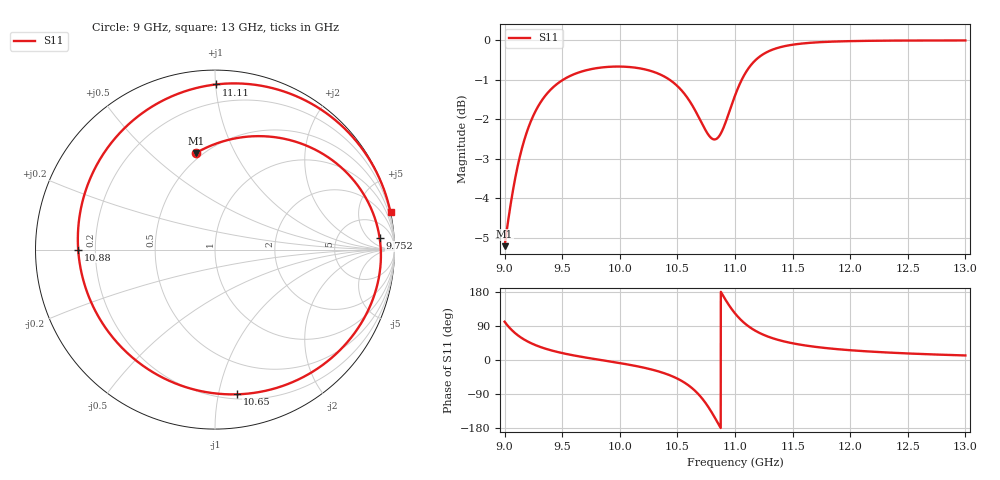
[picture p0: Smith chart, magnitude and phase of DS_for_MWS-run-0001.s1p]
! TOUCHSTONE file generated by CST DESIGN STUDIO
! Date and time: Wed Feb  5 13:47:35 2025
! Project name: C:\Work\MatlabApps\UnitCellOptimizationMatlab\CST\unitcell.cst
! Tree item: Tasks\Sweep1\SPara1\S-Parameters
! Header version: 2024
! Port assignment regex: !\s*Touchstone port\s*([0-9]+)\s*=\s*(CST MWS port|CST DES external port|CST DES block port)\s*(.+)\s* \(\"(.*)\"\)(\s*mode\s*([0-9]+))?.*
! Touchstone port assignment:
! Touchstone port 1 = CST DES external port 1 ("")
# GHz S MA R 50
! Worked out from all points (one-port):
!   4001 points, 9 GHz to 13 GHz, reference 50 ohm
!   lowest |S11| = -5.2 dB at 9 GHz (marker M1), VSWR 3.43, Z = 23.1 + j35.6 ohm
!   |S11| at or under -10 dB: nowhere
!   S11 on the Smith chart (normalised r, x): 9 GHz: 0.46, +0.71; 9.752 GHz: 14, +12; 10.65 GHz: 0.24, -1.14; 10.88 GHz: 0.13, +0.00; 11.11 GHz: 0.08, +1.00; 13 GHz: 0.02, +9.53
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9  0.5489 101.1
9.097  0.675 69.5
9.226  0.7887 44.9
9.348  0.8491 30.5
9.5  0.89 18.3
9.752  0.9195 4.0
10  0.9264 -8.2
10.3  0.9115 -27.0
10.409  0.896 -37.4
10.5  0.8752 -49.2
10.58  0.8485 -63.4
10.653  0.8158 -81.2
10.713  0.7849 -100.9
10.766  0.7605 -122.9
10.827  0.7492 -153.3
10.877  0.7623 180.0
10.932  0.7975 152.0
11  0.8512 123.1
11.053  0.888 105.4
11.114  0.9203 89.6
11.194  0.9485 74.3
11.28  0.9667 62.5
11.38  0.9791 52.6
11.5  0.9873 44.1
11.711  0.9941 34.2
12  0.9977 25.8
12.5  0.9994 17.3
13  0.9996 12.0
